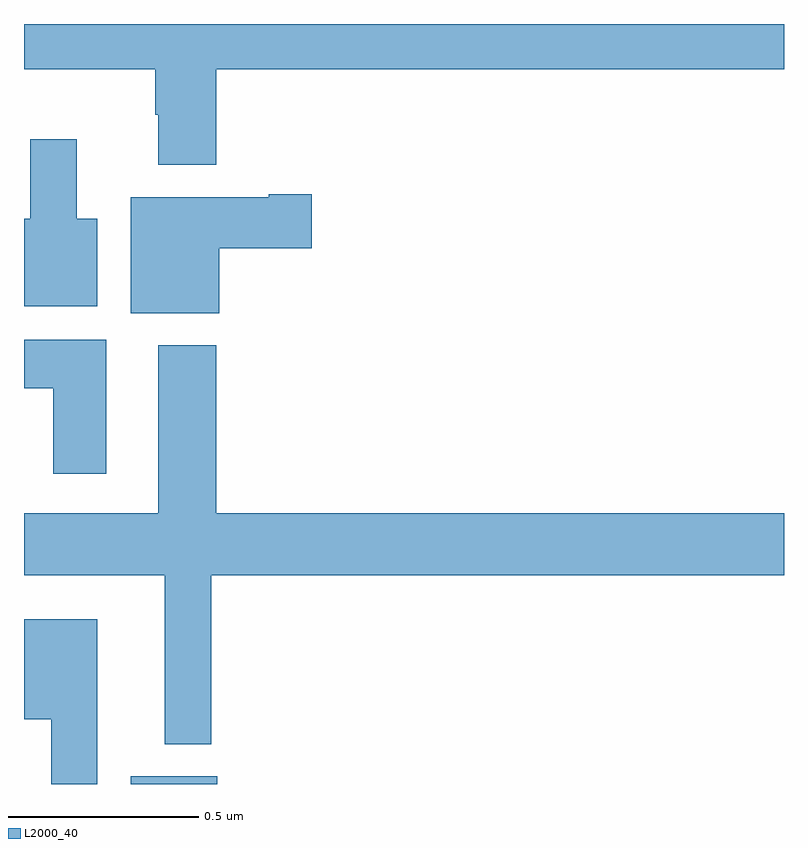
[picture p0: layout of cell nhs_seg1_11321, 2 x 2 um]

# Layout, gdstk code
import gdstk
lib = gdstk.Library(unit=1e-6, precision=1e-09)
def R(c, l, rs):  # rectangles x0, y0, x1, y1
    for r in rs: c.add(gdstk.rectangle(r[:2], r[2:], *l))
def P(c, l, *ps):  # polygons
    for p in ps: c.add(gdstk.Polygon(p, *l))
L2000_40 = (2000, 40)

nhs_seg1_11321 = lib.new_cell('nhs_seg1_11321')
R(nhs_seg1_11321, L2000_40, [(252.281,535.199,252.508,535.219)])
P(nhs_seg1_11321, L2000_40, [(252,537.08),(252.346,537.08),(252.346,536.96),(252.353,536.96),(252.353,536.828),(252.506,536.828),(252.506,537.08),(254,537.08),(254,537.199),(252,537.199)],
  [(252.193,536.686),(252.139,536.686),(252.139,536.896),(252.017,536.896),(252.017,536.686),(252,536.686),(252,536.456),(252.193,536.456)],
  [(252.514,536.609),(252.757,536.609),(252.757,536.751),(252.644,536.751),(252.644,536.743),(252.281,536.743),(252.281,536.438),(252.514,536.438)],
  [(252.217,536.368),(252,536.368),(252,536.24),(252.077,536.24),(252.077,536.016),(252.217,536.016)],
  [(252.493,535.748),(254,535.748),(254,535.912),(252.506,535.912),(252.506,536.353),(252.353,536.353),(252.353,535.912),(252,535.912),(252,535.748),(252.371,535.748),(252.371,535.304),(252.493,535.304)],
  [(252.193,535.633),(252,535.633),(252,535.37),(252.072,535.37),(252.072,535.199),(252.193,535.199)])

lib.write_gds('nhs_seg1_11321.gds')
